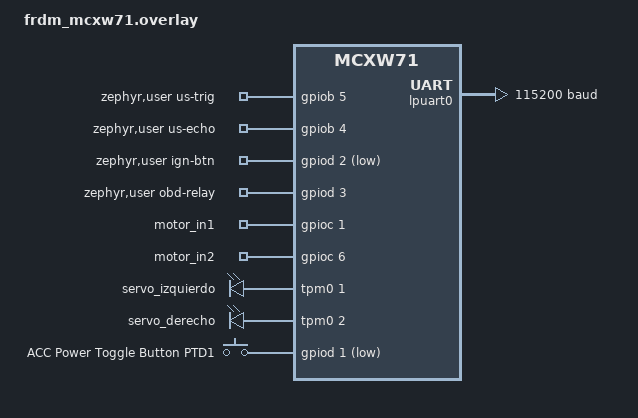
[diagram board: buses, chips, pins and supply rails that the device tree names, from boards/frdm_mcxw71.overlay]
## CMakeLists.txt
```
# SPDX-License-Identifier: Apache-2.0

cmake_minimum_required(VERSION 3.28.0)
set(DTC_OVERLAY_FILE "${CMAKE_CURRENT_SOURCE_DIR}/boards/frdm_mcxw71.overlay")
find_package(Zephyr REQUIRED HINTS $ENV{ZEPHYR_BASE})

project(blinky)

target_include_directories(app PRIVATE
    ASW
    ASW/DIAG
    RTE
    BSW/Comm
    BSW/MCAL
    BSW/MOTOR
    BSW/Direccion
    BSW/DCM/DSL
    BSW/NVM
    BSW/DCM/DSD
    BSW/DCM/DSP
    BSW/IO
    BSW/Sensors
)

target_sources(app PRIVATE
    src/main.c
    ASW/controles.c
    RTE/Rte_OS.c
    RTE/Acc_Signals.c
    BSW/Comm/Can_mis.c
    BSW/DCM/Dcm.c
    BSW/MCAL/gpio_mcal.c
    BSW/MOTOR/motor.c
    BSW/MCAL/pwm_mcal.c
    BSW/Direccion/Direccion.c
    BSW/DCM/DSL/DSL.c
    BSW/Comm/CanIf.c
    BSW/NVM/Nvm_Manager.c
    BSW/DCM/DSD/DSD.c
    BSW/DCM/DSP/DSP.c
    ASW/DIAG/diag_read.c
    BSW/IO/Ignition_Drv.c
    BSW/Sensors/Ultrasonic_Drv.c
    BSW/Sensors/Lidar_Drv.c
    BSW/Sensors/Lidar_Sim_Drv.c
    BSW/Sensors/Sensors_Mgr.c
)
```

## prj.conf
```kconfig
CONFIG_GPIO=y
CONFIG_PWM=y
CONFIG_THREAD_NAME=y

# Salida de consola (necesario para ver los printk de los threads)
CONFIG_CONSOLE=y
CONFIG_SERIAL=y
CONFIG_UART_CONSOLE=y
CONFIG_UART_INTERRUPT_DRIVEN=y
CONFIG_PRINTK=y
CONFIG_LOG=y

# Pila CAN e ISO-TP
CONFIG_CAN=y
CONFIG_ISOTP=y

# Pools de memoria para evitar agotamiento de buffers en TX/RX simultáneo
CONFIG_ISOTP_RX_SF_FF_BUF_COUNT=4
CONFIG_ISOTP_RX_BUF_COUNT=6
CONFIG_ISOTP_RX_BUF_SIZE=64
CONFIG_ISOTP_TX_BUF_COUNT=6

CONFIG_FLASH=y
CONFIG_FLASH_MAP=y
CONFIG_NVS=y
```

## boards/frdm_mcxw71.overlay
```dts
/* SPDX-License-Identifier: Apache-2.0 */

#include <zephyr/dt-bindings/gpio/gpio.h>

/ {
    aliases {
        motor-in1 = &motor_in1;
        motor-in2 = &motor_in2;

        servo-izquierdo = &servo_izquierdo;
        servo-derecho = &servo_derecho;

        acc-btn = &acc_toggle_button;

        /* Alias nuevo para el LiDAR TF-Luna */
        lidar-uart = &lpuart0;
    };

    /* Nodos nuevos para JSN-SR04T, botón de ignición y relevador 12V */
    zephyr,user {
        us-trig-gpios   = <&gpiob 5 GPIO_ACTIVE_HIGH>;
        us-echo-gpios   = <&gpiob 4 GPIO_ACTIVE_HIGH>;
        ign-btn-gpios   = <&gpiod 2 (GPIO_PULL_UP | GPIO_ACTIVE_LOW)>;
        obd-relay-gpios = <&gpiod 3 GPIO_ACTIVE_HIGH>;
    };

    motor_gpios {
        compatible = "gpio-leds";

        motor_in1: motor_in1 {
            gpios = <&gpioc 1 GPIO_ACTIVE_HIGH>;
        };

        motor_in2: motor_in2 {
            gpios = <&gpioc 6 GPIO_ACTIVE_HIGH>;
        };
    };

    servos_prueba {
        compatible = "pwm-leds";

        servo_izquierdo: servo_izquierdo {
            pwms = <&tpm0 1 20000000 0>;
        };

        servo_derecho: servo_derecho {
            pwms = <&tpm0 2 20000000 0>;
        };
    };

    acc_user_buttons {
        compatible = "gpio-keys";
        acc_toggle_button: button_acc_on_off {
            gpios = <&gpiod 1 (GPIO_PULL_UP | GPIO_ACTIVE_LOW)>;
            label = "ACC Power Toggle Button PTD1";
        };
    };
};

&pinctrl {
    pinmux_lpuart0_lidar: pinmux_lpuart0_lidar {
        group0 {
            pinmux = <LPUART0_RX_PTA16>,
                     <LPUART0_TX_PTA17>;
            slew-rate = "slow";
            drive-strength = "low";
        };
    };
};

&lpuart0 {
    status = "okay";
    current-speed = <115200>;
    pinctrl-0 = <&pinmux_lpuart0_lidar>;
    pinctrl-names = "default";
};

&gpiob {
    status = "okay";
};

&gpiod {
    status = "okay";
};
```

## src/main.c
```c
/*
 * Copyright (c) 2016 Intel Corporation
 *
 * SPDX-License-Identifier: Apache-2.0
 */
#include <zephyr/kernel.h>
#include <Rte_OS.h>

int main(void)
{
	Rte_Start();
	
	while (1) {
		k_sleep(K_FOREVER);
	}
	return 0;
}
```
